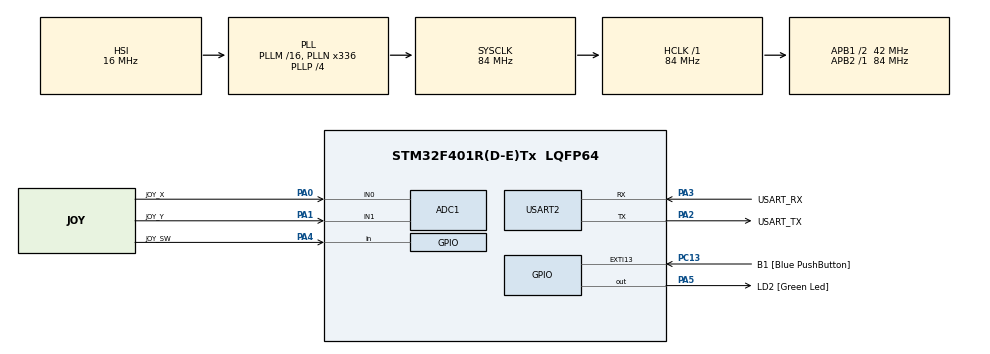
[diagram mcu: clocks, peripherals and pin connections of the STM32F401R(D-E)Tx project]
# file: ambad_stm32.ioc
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ADC1.Channel-0\#ChannelRegularConversion=ADC_CHANNEL_0
ADC1.Channel-1\#ChannelRegularConversion=ADC_CHANNEL_1
ADC1.ContinuousConvMode=ENABLE
ADC1.DMAContinuousRequests=ENABLE
ADC1.NbrOfConversion=2
ADC1.NbrOfConversionFlag=1
ADC1.Rank-0\#ChannelRegularConversion=1
ADC1.Rank-1\#ChannelRegularConversion=2
ADC1.SamplingTime-0\#ChannelRegularConversion=ADC_SAMPLETIME_84CYCLES
ADC1.SamplingTime-1\#ChannelRegularConversion=ADC_SAMPLETIME_84CYCLES
ADC1.ScanConvMode=ENABLE
ADC1.master=1
Dma.ADC1.0.Direction=DMA_PERIPH_TO_MEMORY
Dma.ADC1.0.FIFOMode=DMA_FIFOMODE_DISABLE
Dma.ADC1.0.Instance=DMA2_Stream0
Dma.ADC1.0.MemDataAlignment=DMA_MDATAALIGN_WORD
Dma.ADC1.0.MemInc=DMA_MINC_ENABLE
Dma.ADC1.0.Mode=DMA_CIRCULAR
Dma.ADC1.0.PeriphDataAlignment=DMA_PDATAALIGN_WORD
Dma.ADC1.0.PeriphInc=DMA_PINC_DISABLE
Dma.ADC1.0.Priority=DMA_PRIORITY_LOW
Dma.Request0=ADC1
FREERTOS.Queues01=AudioQueue,8,uint16_t,0,Dynamic,NULL,NULL
FREERTOS.Tasks01=HeartbeatTask,8,128,StartHeartbeatTask,Default,NULL,Dynamic,NULL,NULL;SensorTask,24,256,StartSensorTask,Default,NULL,Dynamic,NULL,NULL;UartCommsTask,24,512,StartUartCommsTask,Default,NULL,Dynamic,NULL,NULL;SpeakerTask,16,256,StartSpeakerTask,Default,NULL,Dynamic,NULL,NULL
Mcu.Family=STM32F4
Mcu.Name=STM32F401R(D-E)Tx
Mcu.Package=LQFP64
NVIC.DMA2_Stream0_IRQn=true\:5\:0\:false\:false\:true\:true\:false\:true\:true
NVIC.PriorityGroup=NVIC_PRIORITYGROUP_4
NVIC.TIM1_TRG_COM_TIM11_IRQn=true\:15\:0\:false\:false\:true\:false\:false\:true\:true
NVIC.TimeBase=TIM1_TRG_COM_TIM11_IRQn
NVIC.TimeBaseIP=TIM11
PA0-WKUP.GPIO_Label=JOY_X 
PA0-WKUP.Signal=ADCx_IN0
PA1.GPIO_Label=JOY_Y
PA1.Signal=ADCx_IN1
PA13.GPIO_Label=TMS
PA13.Mode=Serial_Wire
PA13.Signal=SYS_JTMS-SWDIO
PA14.GPIO_Label=TCK
PA14.Mode=Serial_Wire
PA14.Signal=SYS_JTCK-SWCLK
PA2.GPIO_Label=USART_TX
PA2.GPIO_Mode=GPIO_MODE_AF_PP
PA2.GPIO_PuPd=GPIO_NOPULL
PA2.GPIO_Speed=GPIO_SPEED_FREQ_LOW
PA2.Mode=Asynchronous
PA2.Signal=USART2_TX
PA3.GPIO_Label=USART_RX
PA3.GPIO_Mode=GPIO_MODE_AF_PP
PA3.GPIO_PuPd=GPIO_NOPULL
PA3.GPIO_Speed=GPIO_SPEED_FREQ_LOW
PA3.Mode=Asynchronous
PA3.Signal=USART2_RX
PA4.GPIO_Label=JOY_SW
PA4.GPIO_PuPd=GPIO_PULLUP
PA4.Signal=GPIO_Input
PA5.GPIO_Label=LD2 [Green Led]
PA5.GPIO_Mode=GPIO_MODE_OUTPUT_PP
PA5.GPIO_PuPd=GPIO_NOPULL
PA5.GPIO_Speed=GPIO_SPEED_FREQ_LOW
PA5.Signal=GPIO_Output
PB3.GPIO_Label=SWO
PB3.Signal=SYS_JTDO-SWO
PC13-ANTI_TAMP.GPIO_Label=B1 [Blue PushButton]
PC13-ANTI_TAMP.GPIO_ModeDefaultEXTI=GPIO_MODE_IT_FALLING
PC13-ANTI_TAMP.GPIO_PuPd=GPIO_NOPULL
PC13-ANTI_TAMP.Signal=GPXTI13
PC14-OSC32_IN.Mode=LSE-External-Oscillator
PC14-OSC32_IN.Signal=RCC_OSC32_IN
PC15-OSC32_OUT.Mode=LSE-External-Oscillator
PC15-OSC32_OUT.Signal=RCC_OSC32_OUT
PH0\ -\ OSC_IN.Mode=HSE-External-Clock-Source
PH0\ -\ OSC_IN.Signal=RCC_OSC_IN
PH1\ -\ OSC_OUT.Mode=HSE-External-Clock-Source
PH1\ -\ OSC_OUT.Signal=RCC_OSC_OUT
ProjectManager.HeapSize=0x200
ProjectManager.StackSize=0x400
ProjectManager.TargetToolchain=STM32CubeIDE
RCC.48MHZClocksFreq_Value=48000000
RCC.AHBFreq_Value=84000000
RCC.APB1CLKDivider=RCC_HCLK_DIV2
RCC.APB1Freq_Value=42000000
RCC.APB1TimFreq_Value=84000000
RCC.APB2Freq_Value=84000000
RCC.APB2TimFreq_Value=84000000
RCC.CortexFreq_Value=84000000
RCC.HCLKFreq_Value=84000000
RCC.HSE_VALUE=8000000
RCC.HSI_VALUE=16000000
RCC.PLLN=336
RCC.PLLP=RCC_PLLP_DIV4
RCC.PLLQ=7
RCC.SYSCLKFreq_VALUE=84000000
RCC.SYSCLKSource=RCC_SYSCLKSOURCE_PLLCLK
RCC.VCOOutputFreq_Value=336000000
SH.ADCx_IN0.0=ADC1_IN0,IN0
SH.ADCx_IN1.0=ADC1_IN1,IN1
USART2.VirtualMode=VM_ASYNC
VP_FREERTOS_VS_CMSIS_V2.Mode=CMSIS_V2
VP_SYS_VS_tim11.Mode=TIM11
board=NUCLEO-F401RE

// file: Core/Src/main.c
/* USER CODE BEGIN Header */
/**
  ******************************************************************************
  * @file           : main.c
  * @brief          : Main program body
  ******************************************************************************
  * @attention
  *
  * Copyright (c) 2026 STMicroelectronics.
  * All rights reserved.
  *
  * This software is licensed under terms that can be found in the LICENSE file
  * in the root directory of this software component.
  * If no LICENSE file comes with this software, it is provided AS-IS.
  *
  ******************************************************************************
  */
/* USER CODE END Header */
#include "main.h"
#include "cmsis_os.h"
#include <stdio.h>
#include <string.h>

 ADC_HandleTypeDef hadc1;
DMA_HandleTypeDef hdma_adc1;

UART_HandleTypeDef huart2;

/* Definitions for HeartbeatTask */
osThreadId_t HeartbeatTaskHandle;
const osThreadAttr_t HeartbeatTask_attributes = {
  .name = "HeartbeatTask",
  .stack_size = 128 * 4,
  .priority = (osPriority_t) osPriorityLow,
};
/* Definitions for SensorTask */
osThreadId_t SensorTaskHandle;
const osThreadAttr_t SensorTask_attributes = {
  .name = "SensorTask",
  .stack_size = 256 * 4,
  .priority = (osPriority_t) osPriorityNormal,
};
/* Definitions for UartCommsTask */
osThreadId_t UartCommsTaskHandle;
const osThreadAttr_t UartCommsTask_attributes = {
  .name = "UartCommsTask",
  .stack_size = 512 * 4,
  .priority = (osPriority_t) osPriorityNormal,
};
/* Definitions for SpeakerTask */
osThreadId_t SpeakerTaskHandle;
const osThreadAttr_t SpeakerTask_attributes = {
  .name = "SpeakerTask",
  .stack_size = 256 * 4,
  .priority = (osPriority_t) osPriorityBelowNormal,
};
/* Definitions for AudioQueue */
osMessageQueueId_t AudioQueueHandle;
const osMessageQueueAttr_t AudioQueue_attributes = {
  .name = "AudioQueue"
};
/* USER CODE BEGIN PV */

uint32_t adc_buf[2] = {2048, 2048}; // [0]=VRx, [1]=VRy

typedef struct {
  int16_t jx;   // [-100, 100]
  int16_t jy;   // [-100, 100]
  uint8_t btn;  // 0 | 1
} JoyState_t;

volatile JoyState_t joy_state = {0, 0, 0};

/* USER CODE END PV */

void SystemClock_Config(void);
static void MX_GPIO_Init(void);
static void MX_USART2_UART_Init(void);
static void MX_DMA_Init(void);
static void MX_ADC1_Init(void);
void StartHeartbeatTask(void *argument);
void StartSensorTask(void *argument);
void StartUartCommsTask(void *argument);
void StartSpeakerTask(void *argument);

/* USER CODE BEGIN 0 */

static int16_t map_axis(uint32_t raw) {
  int32_t centered = (int32_t)raw - 2048;
  if (centered > -150 && centered < 150) return 0;
  int32_t scaled = (centered * 100) / 1950;
  if (scaled > 100) scaled = 100;
  if (scaled < -100) scaled = -100;
  return (int16_t)scaled;
}

/* USER CODE END 0 */

int main(void)
{

  /* MCU Configuration--------------------------------------------------------*/

  /* Reset of all peripherals, Initializes the Flash interface and the Systick. */
  HAL_Init();

  /* Configure the system clock */
  SystemClock_Config();

  /* Initialize all configured peripherals */
  MX_GPIO_Init();
  MX_USART2_UART_Init();
  MX_DMA_Init();
  MX_ADC1_Init();

  /* Init scheduler */
  osKernelInitialize();

  /* Create the queue(s) */
  /* creation of AudioQueue */
  AudioQueueHandle = osMessageQueueNew (8, sizeof(uint16_t), &AudioQueue_attributes);

  /* Create the thread(s) */
  /* creation of HeartbeatTask */
  HeartbeatTaskHandle = osThreadNew(StartHeartbeatTask, NULL, &HeartbeatTask_attributes);

  /* creation of SensorTask */
  SensorTaskHandle = osThreadNew(StartSensorTask, NULL, &SensorTask_attributes);

  /* creation of UartCommsTask */
  UartCommsTaskHandle = osThreadNew(StartUartCommsTask, NULL, &UartCommsTask_attributes);

  /* creation of SpeakerTask */
  SpeakerTaskHandle = osThreadNew(StartSpeakerTask, NULL, &SpeakerTask_attributes);

  /* Start scheduler */
  osKernelStart();

  /* We should never get here as control is now taken by the scheduler */
  /* Infinite loop */
  while (1)
  {

  }
}

void SystemClock_Config(void)
{
  RCC_OscInitTypeDef RCC_OscInitStruct = {0};
  RCC_ClkInitTypeDef RCC_ClkInitStruct = {0};

  /** Configure the main internal regulator output voltage
  */
  __HAL_RCC_PWR_CLK_ENABLE();
  __HAL_PWR_VOLTAGESCALING_CONFIG(PWR_REGULATOR_VOLTAGE_SCALE2);

  /** Initializes the RCC Oscillators according to the specified parameters
  * in the RCC_OscInitTypeDef structure.
  */
  RCC_OscInitStruct.OscillatorType = RCC_OSCILLATORTYPE_HSI;
  RCC_OscInitStruct.HSIState = RCC_HSI_ON;
  RCC_OscInitStruct.HSICalibrationValue = RCC_HSICALIBRATION_DEFAULT;
  RCC_OscInitStruct.PLL.PLLState = RCC_PLL_ON;
  RCC_OscInitStruct.PLL.PLLSource = RCC_PLLSOURCE_HSI;
  RCC_OscInitStruct.PLL.PLLM = 16;
  RCC_OscInitStruct.PLL.PLLN = 336;
  RCC_OscInitStruct.PLL.PLLP = RCC_PLLP_DIV4;
  RCC_OscInitStruct.PLL.PLLQ = 7;
  if (HAL_RCC_OscConfig(&RCC_OscInitStruct) != HAL_OK)
  {
    Error_Handler();
  }

  /** Initializes the CPU, AHB and APB buses clocks
  */
  RCC_ClkInitStruct.ClockType = RCC_CLOCKTYPE_HCLK|RCC_CLOCKTYPE_SYSCLK
                              |RCC_CLOCKTYPE_PCLK1|RCC_CLOCKTYPE_PCLK2;
  RCC_ClkInitStruct.SYSCLKSource = RCC_SYSCLKSOURCE_PLLCLK;
  RCC_ClkInitStruct.AHBCLKDivider = RCC_SYSCLK_DIV1;
  RCC_ClkInitStruct.APB1CLKDivider = RCC_HCLK_DIV2;
  RCC_ClkInitStruct.APB2CLKDivider = RCC_HCLK_DIV1;

  if (HAL_RCC_ClockConfig(&RCC_ClkInitStruct, FLASH_LATENCY_2) != HAL_OK)
  {
    Error_Handler();
  }
}

static void MX_ADC1_Init(void)
{

  ADC_ChannelConfTypeDef sConfig = {0};

  /** Configure the global features of the ADC (Clock, Resolution, Data Alignment and number of conversion)
  */
  hadc1.Instance = ADC1;
  hadc1.Init.ClockPrescaler = ADC_CLOCK_SYNC_PCLK_DIV4;
  hadc1.Init.Resolution = ADC_RESOLUTION_12B;
  hadc1.Init.ScanConvMode = ENABLE;
  hadc1.Init.ContinuousConvMode = ENABLE;
  hadc1.Init.DiscontinuousConvMode = DISABLE;
  hadc1.Init.ExternalTrigConvEdge = ADC_EXTERNALTRIGCONVEDGE_NONE;
  hadc1.Init.ExternalTrigConv = ADC_SOFTWARE_START;
  hadc1.Init.DataAlign = ADC_DATAALIGN_RIGHT;
  hadc1.Init.NbrOfConversion = 2;
  hadc1.Init.DMAContinuousRequests = ENABLE;
  hadc1.Init.EOCSelection = ADC_EOC_SINGLE_CONV;
  if (HAL_ADC_Init(&hadc1) != HAL_OK)
  {
    Error_Handler();
  }

  /** Configure for the selected ADC regular channel its corresponding rank in the sequencer and its sample time.
  */
  sConfig.Channel = ADC_CHANNEL_0;
  sConfig.Rank = 1;
  sConfig.SamplingTime = ADC_SAMPLETIME_84CYCLES;
  if (HAL_ADC_ConfigChannel(&hadc1, &sConfig) != HAL_OK)
  {
    Error_Handler();
  }

  /** Configure for the selected ADC regular channel its corresponding rank in the sequencer and its sample time.
  */
  sConfig.Channel = ADC_CHANNEL_1;
  sConfig.Rank = 2;
  if (HAL_ADC_ConfigChannel(&hadc1, &sConfig) != HAL_OK)
  {
    Error_Handler();
  }

}

static void MX_USART2_UART_Init(void)
{

  huart2.Instance = USART2;
  huart2.Init.BaudRate = 115200;
  huart2.Init.WordLength = UART_WORDLENGTH_8B;
  huart2.Init.StopBits = UART_STOPBITS_1;
  huart2.Init.Parity = UART_PARITY_NONE;
  huart2.Init.Mode = UART_MODE_TX_RX;
  huart2.Init.HwFlowCtl = UART_HWCONTROL_NONE;
  huart2.Init.OverSampling = UART_OVERSAMPLING_16;
  if (HAL_UART_Init(&huart2) != HAL_OK)
  {
    Error_Handler();
  }

}

static void MX_DMA_Init(void)
{

  /* DMA controller clock enable */
  __HAL_RCC_DMA2_CLK_ENABLE();

  /* DMA interrupt init */
  /* DMA2_Stream0_IRQn interrupt configuration */
  HAL_NVIC_SetPriority(DMA2_Stream0_IRQn, 5, 0);
  HAL_NVIC_EnableIRQ(DMA2_Stream0_IRQn);

}

static void MX_GPIO_Init(void)
{
  GPIO_InitTypeDef GPIO_InitStruct = {0};

  /* GPIO Ports Clock Enable */
  __HAL_RCC_GPIOC_CLK_ENABLE();
  __HAL_RCC_GPIOH_CLK_ENABLE();
  __HAL_RCC_GPIOA_CLK_ENABLE();
  __HAL_RCC_GPIOB_CLK_ENABLE();

  /*Configure GPIO pin Output Level */
  HAL_GPIO_WritePin(LD2_GPIO_Port, LD2_Pin, GPIO_PIN_RESET);

  /*Configure GPIO pin : B1_Pin */
  GPIO_InitStruct.Pin = B1_Pin;
  GPIO_InitStruct.Mode = GPIO_MODE_IT_FALLING;
  GPIO_InitStruct.Pull = GPIO_NOPULL;
  HAL_GPIO_Init(B1_GPIO_Port, &GPIO_InitStruct);

  /*Configure GPIO pin : JOY_SW_Pin */
  GPIO_InitStruct.Pin = JOY_SW_Pin;
  GPIO_InitStruct.Mode = GPIO_MODE_INPUT;
  GPIO_InitStruct.Pull = GPIO_PULLUP;
  HAL_GPIO_Init(JOY_SW_GPIO_Port, &GPIO_InitStruct);

  /*Configure GPIO pin : LD2_Pin */
  GPIO_InitStruct.Pin = LD2_Pin;
  GPIO_InitStruct.Mode = GPIO_MODE_OUTPUT_PP;
  GPIO_InitStruct.Pull = GPIO_NOPULL;
  GPIO_InitStruct.Speed = GPIO_SPEED_FREQ_LOW;
  HAL_GPIO_Init(LD2_GPIO_Port, &GPIO_InitStruct);

}

void StartHeartbeatTask(void *argument)
{
  /* USER CODE BEGIN 5 */
  /* Infinite loop */
  for(;;)
  {
    HAL_GPIO_TogglePin(LD2_GPIO_Port, LD2_Pin);
    osDelay(500);
  }
  /* USER CODE END 5 */
}

void StartSensorTask(void *argument)
{
  /* USER CODE BEGIN StartSensorTask */
  HAL_ADC_Start_DMA(&hadc1, adc_buf, 2);
  /* Infinite loop */
  for(;;) {
    joy_state.jx  = map_axis(adc_buf[0]);
    joy_state.jy  = -map_axis(adc_buf[1]);
    joy_state.btn = (HAL_GPIO_ReadPin(JOY_SW_GPIO_Port, JOY_SW_Pin) == GPIO_PIN_RESET) ? 1 : 0;
    osDelay(20);
  }
  /* USER CODE END StartSensorTask */
}

void StartUartCommsTask(void *argument)
{
  /* USER CODE BEGIN StartUartCommsTask */
  char tx_buf[48];

  /* Infinite loop */
  for(;;) {
    int len = snprintf(tx_buf, sizeof(tx_buf), "J,%d,%d,%d\r\n", joy_state.jx,
        joy_state.jy, joy_state.btn);
    HAL_UART_Transmit(&huart2, (uint8_t *)tx_buf, (uint16_t)len, 20);
    osDelay(40);
  }
  /* USER CODE END StartUartCommsTask */
}

void StartSpeakerTask(void *argument)
{
  for(;;)
  {
    osDelay(1);
  }
}

void HAL_TIM_PeriodElapsedCallback(TIM_HandleTypeDef *htim)
{
  if (htim->Instance == TIM11) {
    HAL_IncTick();
  }
}

void Error_Handler(void)
{
  __disable_irq();
  while (1)
  {
  }
}
